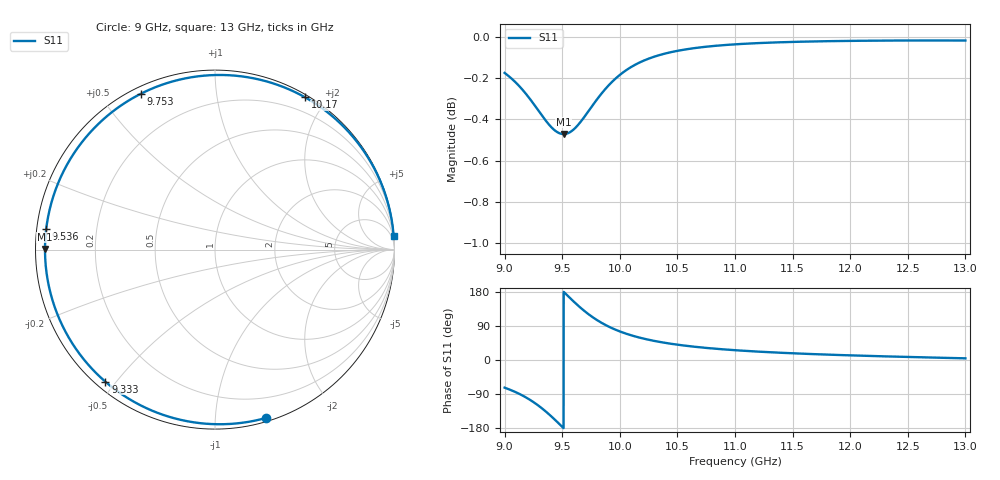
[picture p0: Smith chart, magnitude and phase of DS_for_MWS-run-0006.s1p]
! TOUCHSTONE file generated by CST DESIGN STUDIO
! Date and time: Tue Feb  4 13:52:44 2025
! Project name: C:\Work\MatlabApps\UnitCellOptimizationMatlab\CST\unitcell.cst
! Tree item: Tasks\Sweep1\SPara1\S-Parameters
! Header version: 2024
! Port assignment regex: !\s*Touchstone port\s*([0-9]+)\s*=\s*(CST MWS port|CST DES external port|CST DES block port)\s*(.+)\s* \(\"(.*)\"\)(\s*mode\s*([0-9]+))?.*
! Touchstone port assignment:
! Touchstone port 1 = CST DES external port 1 ("")
# GHz S MA R 50
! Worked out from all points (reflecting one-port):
!   4001 points, 9 GHz to 13 GHz, reference 50 ohm
!   lowest |S11| = -0.5 dB at 9.513 GHz (marker M1), VSWR 36.89, Z = 1.36 + j0.0856 ohm
!   phase of S11 starts at -73 deg and turns -283 deg over the sweep
!   S11 on the Smith chart (normalised r, x): 9 GHz: 0.03, -1.35; 9.333 GHz: 0.03, -0.47; 9.536 GHz: 0.03, +0.06; 9.753 GHz: 0.03, +0.63; 10.17 GHz: 0.03, +1.75; 13 GHz: 1, +26
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9  0.9802 -73.0
9.09  0.9754 -84.0
9.194  0.9681 -100.3
9.267  0.9621 -114.5
9.333  0.9564 -129.7
9.378  0.9528 -141.3
9.425  0.9497 -154.2
9.463  0.9481 -165.3
9.5  0.9473 -176.3
9.513  0.9472 179.8
9.536  0.9474 172.9
9.59  0.9492 157.0
9.65  0.953 140.3
9.701  0.9571 127.3
9.753  0.9616 115.4
9.804  0.966 105.0
9.86  0.9704 95.0
10  0.9791 75.4
10.08  0.9827 67.0
10.167  0.9858 59.4
10.318  0.9895 49.3
10.5  0.9924 40.4
10.722  0.9945 32.7
11  0.996 25.9
11.5  0.9974 17.7
12  0.9979 12.2
12.5  0.9982 8.0
13  0.9981 4.4
